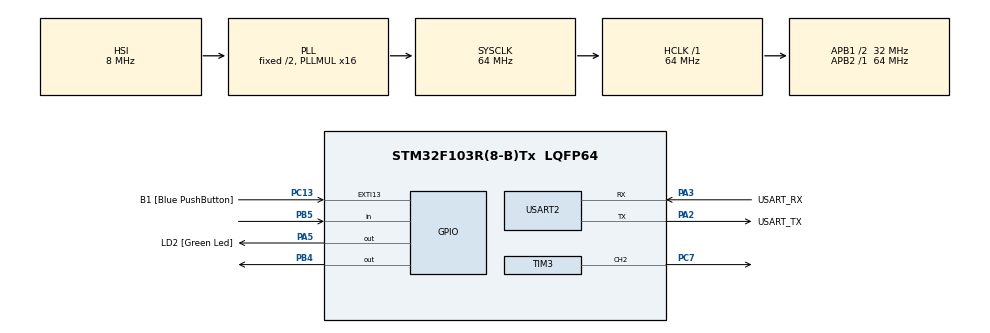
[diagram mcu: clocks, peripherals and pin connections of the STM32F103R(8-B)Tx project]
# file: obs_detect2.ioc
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Mcu.Family=STM32F1
Mcu.Name=STM32F103R(8-B)Tx
Mcu.Package=LQFP64
NVIC.EXTI15_10_IRQn=true\:0\:0\:false\:false\:true\:true\:true\:true
NVIC.PriorityGroup=NVIC_PRIORITYGROUP_4
PA13.GPIO_Label=TMS
PA13.Mode=Serial_Wire
PA13.Signal=SYS_JTMS-SWDIO
PA14.GPIO_Label=TCK
PA14.Mode=Serial_Wire
PA14.Signal=SYS_JTCK-SWCLK
PA2.GPIO_Label=USART_TX
PA2.GPIO_Mode=GPIO_MODE_AF_PP
PA2.GPIO_PuPd=GPIO_NOPULL
PA2.GPIO_Speed=GPIO_SPEED_FREQ_LOW
PA2.Mode=Asynchronous
PA2.Signal=USART2_TX
PA3.GPIO_Label=USART_RX
PA3.GPIO_Mode=GPIO_MODE_AF_PP
PA3.GPIO_PuPd=GPIO_NOPULL
PA3.GPIO_Speed=GPIO_SPEED_FREQ_LOW
PA3.Mode=Asynchronous
PA3.Signal=USART2_RX
PA5.GPIO_Label=LD2 [Green Led]
PA5.GPIO_ModeDefaultOutputPP=GPIO_MODE_OUTPUT_PP
PA5.GPIO_PuPd=GPIO_NOPULL
PA5.GPIO_Speed=GPIO_SPEED_FREQ_LOW
PA5.Signal=GPIO_Output
PB3.GPIO_Label=SWO
PB3.Signal=SYS_JTDO-TRACESWO
PB4.Signal=GPIO_Output
PB5.Signal=GPIO_Input
PC13-TAMPER-RTC.GPIO_Label=B1 [Blue PushButton]
PC13-TAMPER-RTC.GPIO_PuPd=GPIO_NOPULL
PC13-TAMPER-RTC.Signal=GPXTI13
PC14-OSC32_IN.Signal=RCC_OSC32_IN
PC15-OSC32_OUT.Signal=RCC_OSC32_OUT
PC7.Signal=S_TIM3_CH2
PD0-OSC_IN.Signal=RCC_OSC_IN
PD1-OSC_OUT.Signal=RCC_OSC_OUT
ProjectManager.HeapSize=0x200
ProjectManager.StackSize=0x400
ProjectManager.TargetToolchain=STM32CubeIDE
RCC.AHBFreq_Value=64000000
RCC.APB1CLKDivider=RCC_HCLK_DIV2
RCC.APB1Freq_Value=32000000
RCC.APB1TimFreq_Value=64000000
RCC.APB2Freq_Value=64000000
RCC.APB2TimFreq_Value=64000000
RCC.HCLKFreq_Value=64000000
RCC.PLLMUL=RCC_PLL_MUL16
RCC.RTCClockSelection=RCC_RTCCLKSOURCE_LSE
RCC.SYSCLKFreq_VALUE=64000000
RCC.SYSCLKSource=RCC_SYSCLKSOURCE_PLLCLK
RCC.USBFreq_Value=64000000
SH.S_TIM3_CH2.0=TIM3_CH2,PWM Generation2 CH2
TIM2.Prescaler=64-1
TIM3.Channel-PWM\ Generation2\ CH2=TIM_CHANNEL_2
TIM3.Prescaler=64-1
USART2.VirtualMode=VM_ASYNC
VP_TIM2_VS_ClockSourceINT.Mode=Internal
VP_TIM3_VS_ClockSourceINT.Mode=Internal
board=NUCLEO-F103RB

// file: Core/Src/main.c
/* USER CODE BEGIN Header */
/**
  ******************************************************************************
  * @file           : main.c
  * @brief          : Main program body
  ******************************************************************************
  * @attention
  *
  * Copyright (c) 2026 STMicroelectronics.
  * All rights reserved.
  *
  * This software is licensed under terms that can be found in the LICENSE file
  * in the root directory of this software component.
  * If no LICENSE file comes with this software, it is provided AS-IS.
  *
  ******************************************************************************
  */
/* USER CODE END Header */
#include "main.h"

/* USER CODE BEGIN Includes */
#include "uart2_printf.h"
#include "delay_us.h"
/* USER CODE END Includes */

/* USER CODE BEGIN PD */
#define HIGH 1
#define LOW  0
/* USER CODE END PD */

TIM_HandleTypeDef htim2;
TIM_HandleTypeDef htim3;

UART_HandleTypeDef huart2;

void SystemClock_Config(void);
static void MX_GPIO_Init(void);
static void MX_TIM2_Init(void);
static void MX_TIM3_Init(void);
static void MX_USART2_UART_Init(void);
/* USER CODE BEGIN PFP */
void trig(void);
uint16_t echo(void);
/* USER CODE END PFP */

/* USER CODE BEGIN 0 */
void Buzzer_Tone(uint16_t frequency, uint16_t duration)
{
    uint32_t period;

    /* TIM3 counter clock = 1 MHz */
    period = 1000000 / frequency;

    __HAL_TIM_SET_AUTORELOAD(&htim3, period - 1);

    /* 50% duty cycle */
    __HAL_TIM_SET_COMPARE(&htim3,
                          TIM_CHANNEL_2,
                          period / 2);

    __HAL_TIM_SET_COUNTER(&htim3, 0);

    HAL_TIM_PWM_Start(&htim3, TIM_CHANNEL_2);

    HAL_Delay(duration);

    HAL_TIM_PWM_Stop(&htim3, TIM_CHANNEL_2);
}

void Buzzer_Obstacle(uint16_t dist)
{
    if (dist < 300)
    {
        Buzzer_Tone(1000, 50);
        HAL_Delay(50);
    }
    else if (dist < 500)
    {
        Buzzer_Tone(1000, 50);
        HAL_Delay(150);
    }
    else if (dist < 1000)
    {
        Buzzer_Tone(1000, 50);
        HAL_Delay(400);
    }
    else
    {
        HAL_TIM_PWM_Stop(&htim3, TIM_CHANNEL_2);
        HAL_Delay(100);
    }
}
/* USER CODE END 0 */

int main(void)
{

  /* MCU Configuration--------------------------------------------------------*/

  /* Reset of all peripherals, Initializes the Flash interface and the Systick. */
  HAL_Init();

  /* Configure the system clock */
  SystemClock_Config();

  /* Initialize all configured peripherals */
  MX_GPIO_Init();
  MX_TIM2_Init();
  MX_TIM3_Init();
  MX_USART2_UART_Init();
  /* USER CODE BEGIN 2 */
  printf("Obstacle Detector with HC-SR04!\n");
      HAL_TIM_Base_Start(&htim2);
  /* USER CODE END 2 */

  /* Infinite loop */
  /* USER CODE BEGIN WHILE */
  while (1)
  {
	  trig();
	  uint16_t echo_time = echo();
	  if(echo_time == 0) {
		  printf("out of range!\n");
		  HAL_TIM_PWM_Stop(&htim3, TIM_CHANNEL_2);
		  HAL_Delay(100);
	  }
	  else{
		  uint16_t dist = 17 * echo_time / 100;
		  printf("distance = %d\n", dist);

	        Buzzer_Obstacle(dist);
	    }
		  HAL_Delay(100);
	  }
    /* USER CODE END WHILE */

  }

void SystemClock_Config(void)
{
  RCC_OscInitTypeDef RCC_OscInitStruct = {0};
  RCC_ClkInitTypeDef RCC_ClkInitStruct = {0};

  /** Initializes the RCC Oscillators according to the specified parameters
  * in the RCC_OscInitTypeDef structure.
  */
  RCC_OscInitStruct.OscillatorType = RCC_OSCILLATORTYPE_HSI;
  RCC_OscInitStruct.HSIState = RCC_HSI_ON;
  RCC_OscInitStruct.HSICalibrationValue = RCC_HSICALIBRATION_DEFAULT;
  RCC_OscInitStruct.PLL.PLLState = RCC_PLL_ON;
  RCC_OscInitStruct.PLL.PLLSource = RCC_PLLSOURCE_HSI_DIV2;
  RCC_OscInitStruct.PLL.PLLMUL = RCC_PLL_MUL16;
  if (HAL_RCC_OscConfig(&RCC_OscInitStruct) != HAL_OK)
  {
    Error_Handler();
  }

  /** Initializes the CPU, AHB and APB buses clocks
  */
  RCC_ClkInitStruct.ClockType = RCC_CLOCKTYPE_HCLK|RCC_CLOCKTYPE_SYSCLK
                              |RCC_CLOCKTYPE_PCLK1|RCC_CLOCKTYPE_PCLK2;
  RCC_ClkInitStruct.SYSCLKSource = RCC_SYSCLKSOURCE_PLLCLK;
  RCC_ClkInitStruct.AHBCLKDivider = RCC_SYSCLK_DIV1;
  RCC_ClkInitStruct.APB1CLKDivider = RCC_HCLK_DIV2;
  RCC_ClkInitStruct.APB2CLKDivider = RCC_HCLK_DIV1;

  if (HAL_RCC_ClockConfig(&RCC_ClkInitStruct, FLASH_LATENCY_2) != HAL_OK)
  {
    Error_Handler();
  }
}

static void MX_TIM2_Init(void)
{

  TIM_ClockConfigTypeDef sClockSourceConfig = {0};
  TIM_MasterConfigTypeDef sMasterConfig = {0};

  htim2.Instance = TIM2;
  htim2.Init.Prescaler = 64-1;
  htim2.Init.CounterMode = TIM_COUNTERMODE_UP;
  htim2.Init.Period = 65535;
  htim2.Init.ClockDivision = TIM_CLOCKDIVISION_DIV1;
  htim2.Init.AutoReloadPreload = TIM_AUTORELOAD_PRELOAD_DISABLE;
  if (HAL_TIM_Base_Init(&htim2) != HAL_OK)
  {
    Error_Handler();
  }
  sClockSourceConfig.ClockSource = TIM_CLOCKSOURCE_INTERNAL;
  if (HAL_TIM_ConfigClockSource(&htim2, &sClockSourceConfig) != HAL_OK)
  {
    Error_Handler();
  }
  sMasterConfig.MasterOutputTrigger = TIM_TRGO_RESET;
  sMasterConfig.MasterSlaveMode = TIM_MASTERSLAVEMODE_DISABLE;
  if (HAL_TIMEx_MasterConfigSynchronization(&htim2, &sMasterConfig) != HAL_OK)
  {
    Error_Handler();
  }

}

static void MX_TIM3_Init(void)
{

  TIM_ClockConfigTypeDef sClockSourceConfig = {0};
  TIM_MasterConfigTypeDef sMasterConfig = {0};
  TIM_OC_InitTypeDef sConfigOC = {0};

  htim3.Instance = TIM3;
  htim3.Init.Prescaler = 64-1;
  htim3.Init.CounterMode = TIM_COUNTERMODE_UP;
  htim3.Init.Period = 65535;
  htim3.Init.ClockDivision = TIM_CLOCKDIVISION_DIV1;
  htim3.Init.AutoReloadPreload = TIM_AUTORELOAD_PRELOAD_DISABLE;
  if (HAL_TIM_Base_Init(&htim3) != HAL_OK)
  {
    Error_Handler();
  }
  sClockSourceConfig.ClockSource = TIM_CLOCKSOURCE_INTERNAL;
  if (HAL_TIM_ConfigClockSource(&htim3, &sClockSourceConfig) != HAL_OK)
  {
    Error_Handler();
  }
  if (HAL_TIM_PWM_Init(&htim3) != HAL_OK)
  {
    Error_Handler();
  }
  sMasterConfig.MasterOutputTrigger = TIM_TRGO_RESET;
  sMasterConfig.MasterSlaveMode = TIM_MASTERSLAVEMODE_DISABLE;
  if (HAL_TIMEx_MasterConfigSynchronization(&htim3, &sMasterConfig) != HAL_OK)
  {
    Error_Handler();
  }
  sConfigOC.OCMode = TIM_OCMODE_PWM1;
  sConfigOC.Pulse = 0;
  sConfigOC.OCPolarity = TIM_OCPOLARITY_HIGH;
  sConfigOC.OCFastMode = TIM_OCFAST_DISABLE;
  if (HAL_TIM_PWM_ConfigChannel(&htim3, &sConfigOC, TIM_CHANNEL_2) != HAL_OK)
  {
    Error_Handler();
  }
  HAL_TIM_MspPostInit(&htim3);

}

static void MX_USART2_UART_Init(void)
{

  huart2.Instance = USART2;
  huart2.Init.BaudRate = 115200;
  huart2.Init.WordLength = UART_WORDLENGTH_8B;
  huart2.Init.StopBits = UART_STOPBITS_1;
  huart2.Init.Parity = UART_PARITY_NONE;
  huart2.Init.Mode = UART_MODE_TX_RX;
  huart2.Init.HwFlowCtl = UART_HWCONTROL_NONE;
  huart2.Init.OverSampling = UART_OVERSAMPLING_16;
  if (HAL_UART_Init(&huart2) != HAL_OK)
  {
    Error_Handler();
  }

}

static void MX_GPIO_Init(void)
{
  GPIO_InitTypeDef GPIO_InitStruct = {0};

  /* GPIO Ports Clock Enable */
  __HAL_RCC_GPIOC_CLK_ENABLE();
  __HAL_RCC_GPIOD_CLK_ENABLE();
  __HAL_RCC_GPIOA_CLK_ENABLE();
  __HAL_RCC_GPIOB_CLK_ENABLE();

  /*Configure GPIO pin Output Level */
  HAL_GPIO_WritePin(LD2_GPIO_Port, LD2_Pin, GPIO_PIN_RESET);

  /*Configure GPIO pin Output Level */
  HAL_GPIO_WritePin(GPIOB, GPIO_PIN_4, GPIO_PIN_RESET);

  /*Configure GPIO pin : B1_Pin */
  GPIO_InitStruct.Pin = B1_Pin;
  GPIO_InitStruct.Mode = GPIO_MODE_IT_RISING;
  GPIO_InitStruct.Pull = GPIO_NOPULL;
  HAL_GPIO_Init(B1_GPIO_Port, &GPIO_InitStruct);

  /*Configure GPIO pin : LD2_Pin */
  GPIO_InitStruct.Pin = LD2_Pin;
  GPIO_InitStruct.Mode = GPIO_MODE_OUTPUT_PP;
  GPIO_InitStruct.Pull = GPIO_NOPULL;
  GPIO_InitStruct.Speed = GPIO_SPEED_FREQ_LOW;
  HAL_GPIO_Init(LD2_GPIO_Port, &GPIO_InitStruct);

  /*Configure GPIO pin : PB4 */
  GPIO_InitStruct.Pin = GPIO_PIN_4;
  GPIO_InitStruct.Mode = GPIO_MODE_OUTPUT_PP;
  GPIO_InitStruct.Pull = GPIO_NOPULL;
  GPIO_InitStruct.Speed = GPIO_SPEED_FREQ_LOW;
  HAL_GPIO_Init(GPIOB, &GPIO_InitStruct);

  /*Configure GPIO pin : PB5 */
  GPIO_InitStruct.Pin = GPIO_PIN_5;
  GPIO_InitStruct.Mode = GPIO_MODE_INPUT;
  GPIO_InitStruct.Pull = GPIO_NOPULL;
  HAL_GPIO_Init(GPIOB, &GPIO_InitStruct);

  /* EXTI interrupt init*/
  HAL_NVIC_SetPriority(EXTI15_10_IRQn, 0, 0);
  HAL_NVIC_EnableIRQ(EXTI15_10_IRQn);

}

/* USER CODE BEGIN 4 */
void trig()
{
	HAL_GPIO_WritePin(GPIOB, GPIO_PIN_4, HIGH);
	delay_us(10);
	HAL_GPIO_WritePin(GPIOB, GPIO_PIN_4, LOW);
}

uint16_t echo()
{
	uint16_t echo_time = 0;
	uint16_t timeout_start = __HAL_TIM_GET_COUNTER(&htim2);
	while(HAL_GPIO_ReadPin(GPIOB, GPIO_PIN_5)== LOW)
	{
		if ((uint16_t)(__HAL_TIM_GET_COUNTER(&htim2) - timeout_start) > 30000)
		            return 0;
		else;
	}
	uint16_t start = __HAL_TIM_GET_COUNTER(&htim2);
	while(HAL_GPIO_ReadPin(GPIOB, GPIO_PIN_5)== HIGH)
	{
		if ((uint16_t)(__HAL_TIM_GET_COUNTER(&htim2) - start) > 30000)
				            return 0;
		else;
	}
	uint16_t end = __HAL_TIM_GET_COUNTER(&htim2);
	echo_time = (uint16_t)(end - start);
	if( echo_time >= 240 && echo_time <= 23000 )
		return echo_time;
	else
		return 0;
}
/* USER CODE END 4 */

void Error_Handler(void)
{
  __disable_irq();
  while (1)
  {
  }
}
